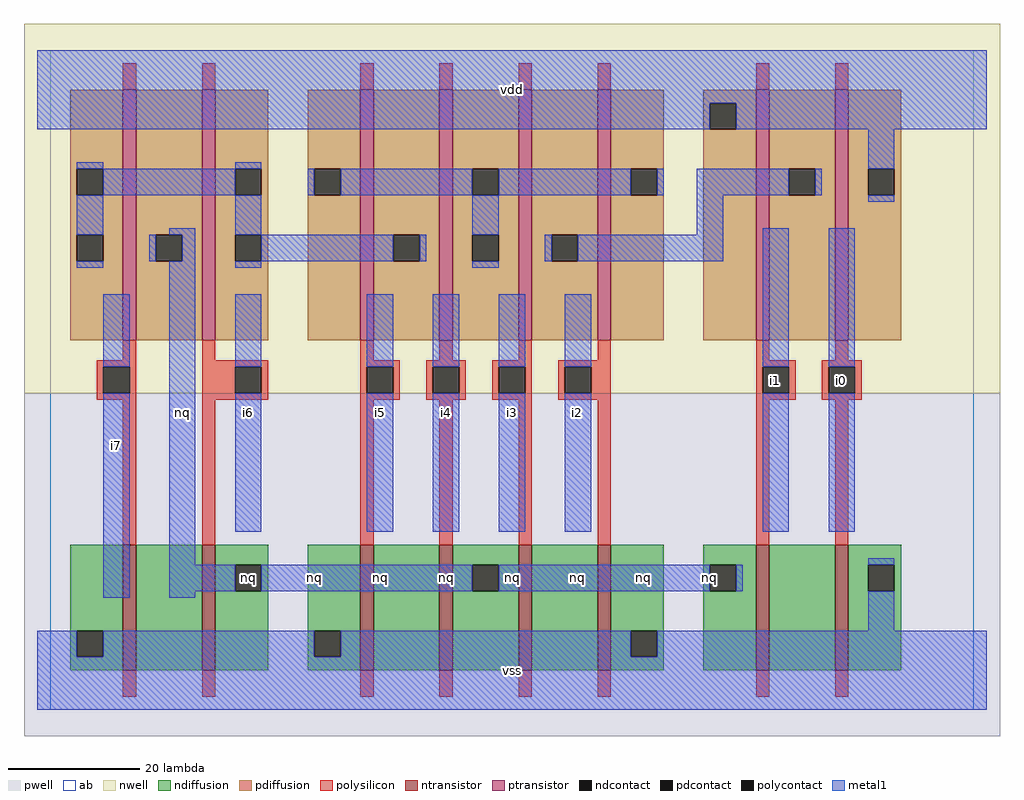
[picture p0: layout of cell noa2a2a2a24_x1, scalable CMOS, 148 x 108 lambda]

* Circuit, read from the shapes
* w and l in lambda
.subckt noa2a2a2a24_x1 i0 i1 i2 i3 i4 i5 i6 i7 nq vdd vss
M1 n1 i7 vss VSUBS nfet w=19 l=2
M2 nq i6 n1 VSUBS nfet w=19 l=2
M3 n2 i5 vss VSUBS nfet w=19 l=2
M4 nq i4 n2 VSUBS nfet w=19 l=2
M5 n3 i3 nq VSUBS nfet w=19 l=2
M6 vss i2 n3 VSUBS nfet w=19 l=2
M7 n4 i1 nq VSUBS nfet w=19 l=2
M8 vss i0 n4 VSUBS nfet w=19 l=2
M9 nq i7 n5 n6 pfet w=38 l=2
M10 n5 i6 nq n6 pfet w=38 l=2
M11 n5 i5 n7 n6 pfet w=38 l=2
M12 n7 i4 n5 n6 pfet w=38 l=2
M13 n8 i3 n7 n6 pfet w=38 l=2
M14 n7 i2 n8 n6 pfet w=38 l=2
M15 n8 i1 vdd n6 pfet w=38 l=2
M16 vdd i0 n8 n6 pfet w=38 l=2
.ends

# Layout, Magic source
magic
tech scmos
<< ab >>
rect 0 0 140 100
<< pwell >>
rect -4 -4 144 48
<< nwell >>
rect -4 48 144 104
<< polysilicon >>
rect 11 94 13 98
rect 23 94 25 98
rect 47 94 49 98
rect 59 94 61 98
rect 71 94 73 98
rect 83 94 85 98
rect 107 94 109 98
rect 119 94 121 98
rect 11 53 13 56
rect 7 52 13 53
rect 7 48 8 52
rect 12 48 13 52
rect 7 47 13 48
rect 11 25 13 47
rect 23 53 25 56
rect 47 53 49 56
rect 59 53 61 56
rect 71 53 73 56
rect 83 53 85 56
rect 23 52 33 53
rect 23 48 28 52
rect 32 48 33 52
rect 23 47 33 48
rect 47 52 53 53
rect 47 48 48 52
rect 52 48 53 52
rect 47 47 53 48
rect 57 52 63 53
rect 57 48 58 52
rect 62 48 63 52
rect 57 47 63 48
rect 67 52 73 53
rect 67 48 68 52
rect 72 48 73 52
rect 67 47 73 48
rect 77 52 85 53
rect 77 48 78 52
rect 82 48 85 52
rect 77 47 85 48
rect 23 25 25 47
rect 47 25 49 47
rect 59 25 61 47
rect 71 25 73 47
rect 83 25 85 47
rect 107 53 109 56
rect 119 53 121 56
rect 107 52 113 53
rect 107 48 108 52
rect 112 48 113 52
rect 107 47 113 48
rect 117 52 123 53
rect 117 48 118 52
rect 122 48 123 52
rect 117 47 123 48
rect 107 25 109 47
rect 119 25 121 47
rect 11 2 13 6
rect 23 2 25 6
rect 47 2 49 6
rect 59 2 61 6
rect 71 2 73 6
rect 83 2 85 6
rect 107 2 109 6
rect 119 2 121 6
<< ndiffusion >>
rect 3 12 11 25
rect 3 8 4 12
rect 8 8 11 12
rect 3 6 11 8
rect 13 6 23 25
rect 25 22 33 25
rect 25 18 28 22
rect 32 18 33 22
rect 25 6 33 18
rect 39 12 47 25
rect 39 8 40 12
rect 44 8 47 12
rect 39 6 47 8
rect 49 6 59 25
rect 61 22 71 25
rect 61 18 64 22
rect 68 18 71 22
rect 61 6 71 18
rect 73 6 83 25
rect 85 12 93 25
rect 85 8 88 12
rect 92 8 93 12
rect 85 6 93 8
rect 99 22 107 25
rect 99 18 100 22
rect 104 18 107 22
rect 99 6 107 18
rect 109 6 119 25
rect 121 22 129 25
rect 121 18 124 22
rect 128 18 129 22
rect 121 6 129 18
<< pdiffusion >>
rect 3 82 11 94
rect 3 78 4 82
rect 8 78 11 82
rect 3 72 11 78
rect 3 68 4 72
rect 8 68 11 72
rect 3 56 11 68
rect 13 72 23 94
rect 13 68 16 72
rect 20 68 23 72
rect 13 56 23 68
rect 25 82 33 94
rect 25 78 28 82
rect 32 78 33 82
rect 25 72 33 78
rect 25 68 28 72
rect 32 68 33 72
rect 25 56 33 68
rect 39 82 47 94
rect 39 78 40 82
rect 44 78 47 82
rect 39 56 47 78
rect 49 72 59 94
rect 49 68 52 72
rect 56 68 59 72
rect 49 56 59 68
rect 61 82 71 94
rect 61 78 64 82
rect 68 78 71 82
rect 61 72 71 78
rect 61 68 64 72
rect 68 68 71 72
rect 61 56 71 68
rect 73 72 83 94
rect 73 68 76 72
rect 80 68 83 72
rect 73 56 83 68
rect 85 82 93 94
rect 85 78 88 82
rect 92 78 93 82
rect 85 56 93 78
rect 99 92 107 94
rect 99 88 100 92
rect 104 88 107 92
rect 99 56 107 88
rect 109 82 119 94
rect 109 78 112 82
rect 116 78 119 82
rect 109 56 119 78
rect 121 82 129 94
rect 121 78 124 82
rect 128 78 129 82
rect 121 56 129 78
<< metal1 >>
rect -2 92 142 100
rect -2 88 100 92
rect 104 88 142 92
rect 4 82 8 83
rect 28 82 32 83
rect 124 82 128 88
rect 8 78 28 82
rect 39 78 40 82
rect 44 78 64 82
rect 68 78 88 82
rect 92 78 93 82
rect 98 78 112 82
rect 116 78 117 82
rect 4 72 8 78
rect 18 72 22 73
rect 15 68 16 72
rect 20 68 22 72
rect 4 67 8 68
rect 8 52 12 63
rect 8 17 12 48
rect 18 22 22 68
rect 28 72 32 78
rect 64 72 68 78
rect 98 72 102 78
rect 124 77 128 78
rect 32 68 52 72
rect 56 68 57 72
rect 75 68 76 72
rect 80 68 102 72
rect 28 67 32 68
rect 64 67 68 68
rect 28 52 32 63
rect 28 27 32 48
rect 48 52 52 63
rect 48 27 52 48
rect 58 52 62 63
rect 58 27 62 48
rect 68 52 72 63
rect 68 27 72 48
rect 78 52 82 63
rect 78 27 82 48
rect 108 52 112 73
rect 108 27 112 48
rect 118 52 122 73
rect 118 27 122 48
rect 124 22 128 23
rect 18 18 28 22
rect 32 18 64 22
rect 68 18 100 22
rect 104 18 105 22
rect 18 17 22 18
rect 124 12 128 18
rect -2 8 4 12
rect 8 8 40 12
rect 44 8 88 12
rect 92 8 142 12
rect -2 0 142 8
<< ntransistor >>
rect 11 6 13 25
rect 23 6 25 25
rect 47 6 49 25
rect 59 6 61 25
rect 71 6 73 25
rect 83 6 85 25
rect 107 6 109 25
rect 119 6 121 25
<< ptransistor >>
rect 11 56 13 94
rect 23 56 25 94
rect 47 56 49 94
rect 59 56 61 94
rect 71 56 73 94
rect 83 56 85 94
rect 107 56 109 94
rect 119 56 121 94
<< polycontact >>
rect 8 48 12 52
rect 28 48 32 52
rect 48 48 52 52
rect 58 48 62 52
rect 68 48 72 52
rect 78 48 82 52
rect 108 48 112 52
rect 118 48 122 52
<< ndcontact >>
rect 4 8 8 12
rect 28 18 32 22
rect 40 8 44 12
rect 64 18 68 22
rect 88 8 92 12
rect 100 18 104 22
rect 124 18 128 22
<< pdcontact >>
rect 4 78 8 82
rect 4 68 8 72
rect 16 68 20 72
rect 28 78 32 82
rect 28 68 32 72
rect 40 78 44 82
rect 52 68 56 72
rect 64 78 68 82
rect 64 68 68 72
rect 76 68 80 72
rect 88 78 92 82
rect 100 88 104 92
rect 112 78 116 82
rect 124 78 128 82
<< labels >>
rlabel metal1 10 40 10 40 6 i7
rlabel metal1 20 45 20 45 6 nq
rlabel metal1 40 20 40 20 6 nq
rlabel metal1 50 20 50 20 6 nq
rlabel ndcontact 30 20 30 20 6 nq
rlabel metal1 30 45 30 45 6 i6
rlabel metal1 50 45 50 45 6 i5
rlabel metal1 70 6 70 6 6 vss
rlabel metal1 60 20 60 20 6 nq
rlabel metal1 70 20 70 20 6 nq
rlabel metal1 80 20 80 20 6 nq
rlabel metal1 80 45 80 45 6 i2
rlabel metal1 70 45 70 45 6 i3
rlabel metal1 60 45 60 45 6 i4
rlabel metal1 70 94 70 94 6 vdd
rlabel metal1 90 20 90 20 6 nq
rlabel metal1 100 20 100 20 6 nq
rlabel polycontact 110 50 110 50 6 i1
rlabel polycontact 120 50 120 50 6 i0
<< end >>
